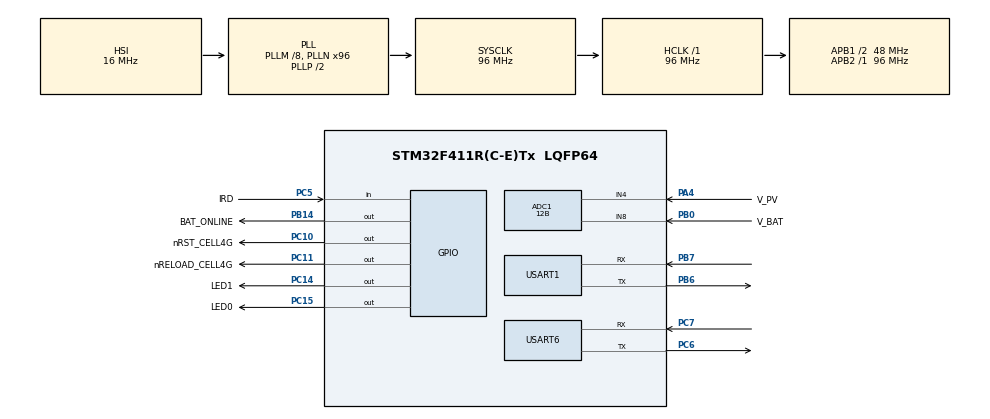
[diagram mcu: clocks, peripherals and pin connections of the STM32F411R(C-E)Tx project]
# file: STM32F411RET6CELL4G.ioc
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ADC1.Channel-2\#ChannelRegularConversion=ADC_CHANNEL_4
ADC1.Channel-5\#ChannelRegularConversion=ADC_CHANNEL_8
ADC1.ClockPrescaler=ADC_CLOCK_SYNC_PCLK_DIV4
ADC1.ContinuousConvMode=ENABLE
ADC1.DMAContinuousRequests=ENABLE
ADC1.DataAlign=ADC_DATAALIGN_RIGHT
ADC1.DiscontinuousConvMode=DISABLE
ADC1.EOCSelection=ADC_EOC_SINGLE_CONV
ADC1.EnableAnalogWatchDog=false
ADC1.ExternalTrigConv=ADC_SOFTWARE_START
ADC1.ExternalTrigConvEdge=ADC_EXTERNALTRIGCONVEDGE_NONE
ADC1.InjNumberOfConversion=0
ADC1.NbrOfConversion=2
ADC1.NbrOfConversionFlag=1
ADC1.Rank-2\#ChannelRegularConversion=1
ADC1.Rank-5\#ChannelRegularConversion=2
ADC1.Resolution=ADC_RESOLUTION_12B
ADC1.SamplingTime-2\#ChannelRegularConversion=ADC_SAMPLETIME_15CYCLES
ADC1.SamplingTime-5\#ChannelRegularConversion=ADC_SAMPLETIME_15CYCLES
ADC1.ScanConvMode=ENABLE
ADC1.master=1
Dma.ADC1.4.Direction=DMA_PERIPH_TO_MEMORY
Dma.ADC1.4.FIFOMode=DMA_FIFOMODE_DISABLE
Dma.ADC1.4.Instance=DMA2_Stream0
Dma.ADC1.4.MemDataAlignment=DMA_MDATAALIGN_WORD
Dma.ADC1.4.MemInc=DMA_MINC_ENABLE
Dma.ADC1.4.Mode=DMA_CIRCULAR
Dma.ADC1.4.PeriphDataAlignment=DMA_PDATAALIGN_WORD
Dma.ADC1.4.PeriphInc=DMA_PINC_DISABLE
Dma.ADC1.4.Priority=DMA_PRIORITY_LOW
Dma.Request0=USART6_RX
Dma.Request1=USART6_TX
Dma.Request2=USART1_RX
Dma.Request3=USART1_TX
Dma.Request4=ADC1
Dma.USART1_RX.2.Direction=DMA_PERIPH_TO_MEMORY
Dma.USART1_RX.2.FIFOMode=DMA_FIFOMODE_DISABLE
Dma.USART1_RX.2.Instance=DMA2_Stream2
Dma.USART1_RX.2.MemDataAlignment=DMA_MDATAALIGN_BYTE
Dma.USART1_RX.2.MemInc=DMA_MINC_ENABLE
Dma.USART1_RX.2.Mode=DMA_CIRCULAR
Dma.USART1_RX.2.PeriphDataAlignment=DMA_PDATAALIGN_BYTE
Dma.USART1_RX.2.PeriphInc=DMA_PINC_DISABLE
Dma.USART1_RX.2.Priority=DMA_PRIORITY_LOW
Dma.USART1_TX.3.Direction=DMA_MEMORY_TO_PERIPH
Dma.USART1_TX.3.FIFOMode=DMA_FIFOMODE_DISABLE
Dma.USART1_TX.3.Instance=DMA2_Stream7
Dma.USART1_TX.3.MemDataAlignment=DMA_MDATAALIGN_BYTE
Dma.USART1_TX.3.MemInc=DMA_MINC_ENABLE
Dma.USART1_TX.3.Mode=DMA_CIRCULAR
Dma.USART1_TX.3.PeriphDataAlignment=DMA_PDATAALIGN_BYTE
Dma.USART1_TX.3.PeriphInc=DMA_PINC_DISABLE
Dma.USART1_TX.3.Priority=DMA_PRIORITY_LOW
Dma.USART6_RX.0.Direction=DMA_PERIPH_TO_MEMORY
Dma.USART6_RX.0.FIFOMode=DMA_FIFOMODE_DISABLE
Dma.USART6_RX.0.Instance=DMA2_Stream1
Dma.USART6_RX.0.MemDataAlignment=DMA_MDATAALIGN_BYTE
Dma.USART6_RX.0.MemInc=DMA_MINC_ENABLE
Dma.USART6_RX.0.Mode=DMA_CIRCULAR
Dma.USART6_RX.0.PeriphDataAlignment=DMA_PDATAALIGN_BYTE
Dma.USART6_RX.0.PeriphInc=DMA_PINC_DISABLE
Dma.USART6_RX.0.Priority=DMA_PRIORITY_LOW
Dma.USART6_TX.1.Direction=DMA_MEMORY_TO_PERIPH
Dma.USART6_TX.1.FIFOMode=DMA_FIFOMODE_DISABLE
Dma.USART6_TX.1.Instance=DMA2_Stream6
Dma.USART6_TX.1.MemDataAlignment=DMA_MDATAALIGN_BYTE
Dma.USART6_TX.1.MemInc=DMA_MINC_ENABLE
Dma.USART6_TX.1.Mode=DMA_CIRCULAR
Dma.USART6_TX.1.PeriphDataAlignment=DMA_PDATAALIGN_BYTE
Dma.USART6_TX.1.PeriphInc=DMA_PINC_DISABLE
Dma.USART6_TX.1.Priority=DMA_PRIORITY_LOW
Mcu.Family=STM32F4
Mcu.Name=STM32F411R(C-E)Tx
Mcu.Package=LQFP64
NVIC.ADC_IRQn=true\:0\:0\:false\:false\:true\:true
NVIC.DMA2_Stream0_IRQn=true\:0\:0\:false\:false\:true\:false
NVIC.DMA2_Stream1_IRQn=true\:0\:0\:false\:false\:true\:false
NVIC.DMA2_Stream2_IRQn=true\:0\:0\:false\:false\:true\:false
NVIC.DMA2_Stream6_IRQn=true\:0\:0\:false\:false\:true\:false
NVIC.DMA2_Stream7_IRQn=true\:0\:0\:false\:false\:true\:false
NVIC.PriorityGroup=NVIC_PRIORITYGROUP_4
NVIC.USART1_IRQn=true\:0\:0\:false\:false\:true\:true
NVIC.USART6_IRQn=true\:0\:0\:false\:false\:true\:true
PA13.Mode=Trace_Asynchronous_SW
PA13.Signal=SYS_JTMS-SWDIO
PA14.Mode=Trace_Asynchronous_SW
PA14.Signal=SYS_JTCK-SWCLK
PA4.GPIO_Label=V_PV
PA4.Signal=ADCx_IN4
PB0.GPIO_Label=V_BAT
PB0.Signal=ADCx_IN8
PB14.GPIO_Label=BAT_ONLINE
PB14.GPIO_PuPd=GPIO_PULLUP
PB14.GPIO_Speed=GPIO_SPEED_FREQ_LOW
PB14.PinState=GPIO_PIN_SET
PB14.Signal=GPIO_Output
PB3.Mode=Trace_Asynchronous_SW
PB3.Signal=SYS_JTDO-SWO
PB6.Mode=Asynchronous
PB6.Signal=USART1_TX
PB7.Mode=Asynchronous
PB7.Signal=USART1_RX
PC10.GPIO_Label=nRST_CELL4G
PC10.GPIO_PuPd=GPIO_PULLUP
PC10.PinState=GPIO_PIN_SET
PC10.Signal=GPIO_Output
PC11.GPIO_Label=nRELOAD_CELL4G
PC11.GPIO_PuPd=GPIO_PULLUP
PC11.PinState=GPIO_PIN_SET
PC11.Signal=GPIO_Output
PC14-OSC32_IN.GPIO_Label=LED1
PC14-OSC32_IN.GPIO_PuPd=GPIO_PULLUP
PC14-OSC32_IN.PinState=GPIO_PIN_SET
PC14-OSC32_IN.Signal=GPIO_Output
PC15-OSC32_OUT.GPIO_Label=LED0
PC15-OSC32_OUT.PinState=GPIO_PIN_SET
PC15-OSC32_OUT.Signal=GPIO_Output
PC5.GPIO_Label=IRD
PC5.Signal=GPIO_Input
PC6.Mode=Asynchronous
PC6.Signal=USART6_TX
PC7.Mode=Asynchronous
PC7.Signal=USART6_RX
PH0\ -\ OSC_IN.Mode=HSE-External-Oscillator
PH0\ -\ OSC_IN.Signal=RCC_OSC_IN
PH1\ -\ OSC_OUT.Mode=HSE-External-Oscillator
PH1\ -\ OSC_OUT.Signal=RCC_OSC_OUT
ProjectManager.HeapSize=0x200
ProjectManager.StackSize=0x1000
ProjectManager.TargetToolchain=MDK-ARM V5
RCC.48MHZClocksFreq_Value=48000000
RCC.AHBFreq_Value=96000000
RCC.APB1CLKDivider=RCC_HCLK_DIV2
RCC.APB1Freq_Value=48000000
RCC.APB1TimFreq_Value=96000000
RCC.APB2Freq_Value=96000000
RCC.APB2TimFreq_Value=96000000
RCC.CortexFreq_Value=96000000
RCC.HCLKFreq_Value=96000000
RCC.HSE_VALUE=8000000
RCC.HSI_VALUE=16000000
RCC.LSE_VALUE=32768
RCC.PLLM=8
RCC.PLLN=96
RCC.SYSCLKFreq_VALUE=96000000
RCC.SYSCLKSource=RCC_SYSCLKSOURCE_PLLCLK
RCC.VCOOutputFreq_Value=192000000
SH.ADCx_IN4.0=ADC1_IN4,IN4
SH.ADCx_IN8.0=ADC1_IN8,IN8
USART1.VirtualMode=VM_ASYNC
USART6.VirtualMode=VM_ASYNC
board=custom

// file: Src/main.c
/**
  ******************************************************************************
  * @file           : main.c
  * @brief          : Main program body
  ******************************************************************************
  ** This notice applies to any and all portions of this file
  * that are not between comment pairs USER CODE BEGIN and
  * USER CODE END. Other portions of this file, whether
  * inserted by the user or by software development tools
  * are owned by their respective copyright owners.
  *
  * COPYRIGHT(c) 2019 STMicroelectronics
  *
  * Redistribution and use in source and binary forms, with or without modification,
  * are permitted provided that the following conditions are met:
  *   1. Redistributions of source code must retain the above copyright notice,
  *      this list of conditions and the following disclaimer.
  *   2. Redistributions in binary form must reproduce the above copyright notice,
  *      this list of conditions and the following disclaimer in the documentation
  *      and/or other materials provided with the distribution.
  *   3. Neither the name of STMicroelectronics nor the names of its contributors
  *      may be used to endorse or promote products derived from this software
  *      without specific prior written permission.
  *
  * THIS SOFTWARE IS PROVIDED BY THE COPYRIGHT HOLDERS AND CONTRIBUTORS "AS IS"
  * AND ANY EXPRESS OR IMPLIED WARRANTIES, INCLUDING, BUT NOT LIMITED TO, THE
  * IMPLIED WARRANTIES OF MERCHANTABILITY AND FITNESS FOR A PARTICULAR PURPOSE ARE
  * DISCLAIMED. IN NO EVENT SHALL THE COPYRIGHT HOLDER OR CONTRIBUTORS BE LIABLE
  * FOR ANY DIRECT, INDIRECT, INCIDENTAL, SPECIAL, EXEMPLARY, OR CONSEQUENTIAL
  * DAMAGES (INCLUDING, BUT NOT LIMITED TO, PROCUREMENT OF SUBSTITUTE GOODS OR
  * SERVICES; LOSS OF USE, DATA, OR PROFITS; OR BUSINESS INTERRUPTION) HOWEVER
  * CAUSED AND ON ANY THEORY OF LIABILITY, WHETHER IN CONTRACT, STRICT LIABILITY,
  * OR TORT (INCLUDING NEGLIGENCE OR OTHERWISE) ARISING IN ANY WAY OUT OF THE USE
  * OF THIS SOFTWARE, EVEN IF ADVISED OF THE POSSIBILITY OF SUCH DAMAGE.
  *
  ******************************************************************************
  */
#include "main.h"
#include "stm32f4xx_hal.h"
#include "adc.h"
#include "dma.h"
#include "usart.h"
#include "gpio.h"

/* USER CODE BEGIN Includes */
#include "app.h"
/* USER CODE END Includes */

/* USER CODE BEGIN PV */
/* Private variables ---------------------------------------------------------*/

/* USER CODE END PV */

void SystemClock_Config(void);

/* USER CODE BEGIN PFP */
/* Private function prototypes -----------------------------------------------*/

/* USER CODE END PFP */

/* USER CODE BEGIN 0 */
uint32_t adc_value[ADCBUFFER] = {0};
UART_DRIVER *uart = NULL;
VOLTAGE_ST Vol_st;
/* USER CODE END 0 */

int main(void)
{
  /* USER CODE BEGIN 1 */
  //uint8_t IRD_State = 1;
  static QEvt const *User_queueSto[10];
  static QSubscrList subscrSto[MAX_SIG];
  static QF_MPOOL_EL(MyEvt) smlPoolSto[10]; /* small pool */
  /* USER CODE END 1 */

  /* MCU Configuration----------------------------------------------------------*/

  /* Reset of all peripherals, Initializes the Flash interface and the Systick. */
  HAL_Init();

  /* Configure the system clock */
  SystemClock_Config();

  /* Initialize all configured peripherals */
  MX_GPIO_Init();
  MX_DMA_Init();
  MX_USART1_UART_Init();
  MX_USART6_UART_Init();
  MX_ADC1_Init();
  /* USER CODE BEGIN 2 */
#if DEBUG
  printf("hello !\r\n");
#endif
  uart = uart_Driver_Init();
  uart->Uart_idle_init();
  /* USER CODE END 2 */

  /* Infinite loop */
  /* USER CODE BEGIN WHILE */
  User_ctor();

  QF_init(); /* initialize the framework */
  QF_psInit(subscrSto, Q_DIM(subscrSto));
  QF_poolInit(smlPoolSto, sizeof(smlPoolSto), sizeof(smlPoolSto[0]));

  QACTIVE_START(AO_User,
                1U,
                User_queueSto,
                Q_DIM(User_queueSto),
                (void *)0,  /* stack storage (not used) */
                0U,         /* size of the stack [bytes] */
                (QEvt *)0); /* initialization event */
  return QF_run();
  //  while (1)
  //  {

  /* USER CODE END WHILE */

  /* USER CODE BEGIN 3 */
   /*IRD_State = HAL_GPIO_ReadPin(IRD_GPIO_Port,IRD_Pin);//
   if(IRD_State == 0)
   {
   	HAL_GPIO_WritePin(LED0_GPIO_Port, LED0_Pin, GPIO_PIN_SET);
   	HAL_Delay(200);
   	HAL_GPIO_WritePin(LED0_GPIO_Port, LED0_Pin, GPIO_PIN_RESET);
   }
    }*/
  /* USER CODE END 3 */
}

void SystemClock_Config(void)
{

  RCC_OscInitTypeDef RCC_OscInitStruct;
  RCC_ClkInitTypeDef RCC_ClkInitStruct;

  /**Configure the main internal regulator output voltage
    */
  __HAL_RCC_PWR_CLK_ENABLE();

  __HAL_PWR_VOLTAGESCALING_CONFIG(PWR_REGULATOR_VOLTAGE_SCALE1);

  /**Initializes the CPU, AHB and APB busses clocks
    */
  RCC_OscInitStruct.OscillatorType = RCC_OSCILLATORTYPE_HSI;
  RCC_OscInitStruct.HSIState = RCC_HSI_ON;
  RCC_OscInitStruct.HSICalibrationValue = 16;
  RCC_OscInitStruct.PLL.PLLState = RCC_PLL_ON;
  RCC_OscInitStruct.PLL.PLLSource = RCC_PLLSOURCE_HSI;
  RCC_OscInitStruct.PLL.PLLM = 8;
  RCC_OscInitStruct.PLL.PLLN = 96;
  RCC_OscInitStruct.PLL.PLLP = RCC_PLLP_DIV2;
  RCC_OscInitStruct.PLL.PLLQ = 4;
  if (HAL_RCC_OscConfig(&RCC_OscInitStruct) != HAL_OK)
  {
    _Error_Handler(__FILE__, __LINE__);
  }

  /**Initializes the CPU, AHB and APB busses clocks
    */
  RCC_ClkInitStruct.ClockType = RCC_CLOCKTYPE_HCLK | RCC_CLOCKTYPE_SYSCLK | RCC_CLOCKTYPE_PCLK1 | RCC_CLOCKTYPE_PCLK2;
  RCC_ClkInitStruct.SYSCLKSource = RCC_SYSCLKSOURCE_PLLCLK;
  RCC_ClkInitStruct.AHBCLKDivider = RCC_SYSCLK_DIV1;
  RCC_ClkInitStruct.APB1CLKDivider = RCC_HCLK_DIV2;
  RCC_ClkInitStruct.APB2CLKDivider = RCC_HCLK_DIV1;

  if (HAL_RCC_ClockConfig(&RCC_ClkInitStruct, FLASH_LATENCY_3) != HAL_OK)
  {
    _Error_Handler(__FILE__, __LINE__);
  }

  /**Configure the Systick interrupt time
    */
  HAL_SYSTICK_Config(HAL_RCC_GetHCLKFreq() / 1000);

  /**Configure the Systick
    */
  HAL_SYSTICK_CLKSourceConfig(SYSTICK_CLKSOURCE_HCLK);

  /* SysTick_IRQn interrupt configuration */
  HAL_NVIC_SetPriority(SysTick_IRQn, 0, 0);
}

void _Error_Handler(char *file, int line)
{
  while (1)
  {
  }
}

/************************ (C) COPYRIGHT STMicroelectronics *****END OF FILE****/
